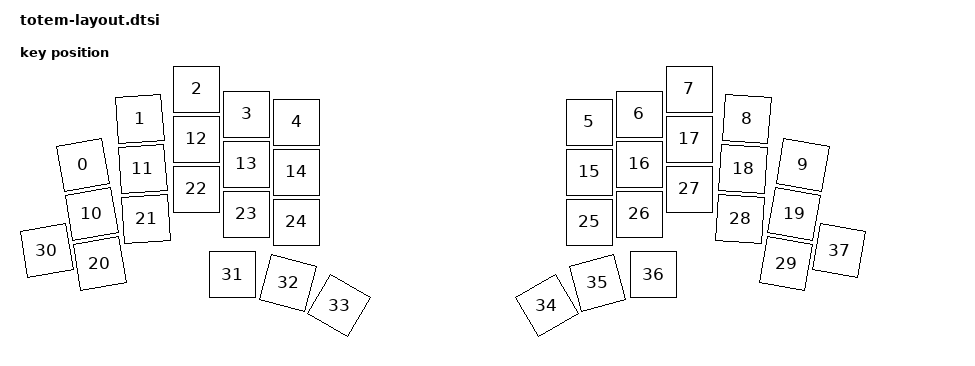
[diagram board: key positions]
/*
 * Copyright (c) 2022 The ZMK Contributors
 *
 * SPDX-License-Identifier: MIT
 */

#include <physical_layouts.dtsi>

/ {
    totem_layout: physical_layout_0 {
        compatible = "zmk,physical-layout";
        display-name = "Default";
        transform = <&matrix_transform0>;

        keys  //                     w   h    x    y     rot    rx    ry
            = <&key_physical_attrs 100 100   73  152 (-1000)   123   202>
            , <&key_physical_attrs 100 100  186   60  (-400)   236   110>
            , <&key_physical_attrs 100 100  300    0       0     0     0>
            , <&key_physical_attrs 100 100  400   50       0     0     0>
            , <&key_physical_attrs 100 100  500   66       0     0     0>
            , <&key_physical_attrs 100 100 1085   66       0     0     0>
            , <&key_physical_attrs 100 100 1185   50       0     0     0>
            , <&key_physical_attrs 100 100 1285    0       0     0     0>
            , <&key_physical_attrs 100 100 1400   60     400  1450   110>
            , <&key_physical_attrs 100 100 1512  152    1000  1562   202>
            , <&key_physical_attrs 100 100   90  250 (-1000)   140   300>
            , <&key_physical_attrs 100 100  192  160  (-400)   242   210>
            , <&key_physical_attrs 100 100  300  100       0     0     0>
            , <&key_physical_attrs 100 100  400  150       0     0     0>
            , <&key_physical_attrs 100 100  500  166       0     0     0>
            , <&key_physical_attrs 100 100 1085  166       0     0     0>
            , <&key_physical_attrs 100 100 1185  150       0     0     0>
            , <&key_physical_attrs 100 100 1285  100       0     0     0>
            , <&key_physical_attrs 100 100 1393  160     400  1443   210>
            , <&key_physical_attrs 100 100 1495  250    1000  1545   300>
            , <&key_physical_attrs 100 100  106  349 (-1000)   156   399>
            , <&key_physical_attrs 100 100  199  260  (-400)   249   310>
            , <&key_physical_attrs 100 100  300  200       0     0     0>
            , <&key_physical_attrs 100 100  400  250       0     0     0>
            , <&key_physical_attrs 100 100  500  266       0     0     0>
            , <&key_physical_attrs 100 100 1085  266       0     0     0>
            , <&key_physical_attrs 100 100 1185  250       0     0     0>
            , <&key_physical_attrs 100 100 1285  200       0     0     0>
            , <&key_physical_attrs 100 100 1387  260     400  1437   310>
            , <&key_physical_attrs 100 100 1479  349    1000  1529   399>
            , <&key_physical_attrs 100 100    0  323 (-1000)    50   373>
            , <&key_physical_attrs 100 100  372  371       0     0     0>
            , <&key_physical_attrs 100 100  483  388    1500   533   438>
            , <&key_physical_attrs 100 100  585  433    3000   635   483>
            , <&key_physical_attrs 100 100 1000  433 (-3000)  1050   483>
            , <&key_physical_attrs 100 100 1102  388 (-1500)  1152   438>
            , <&key_physical_attrs 100 100 1213  371       0     0     0>
            , <&key_physical_attrs 100 100 1585  323    1000  1635   373>
            ;
    };
};

